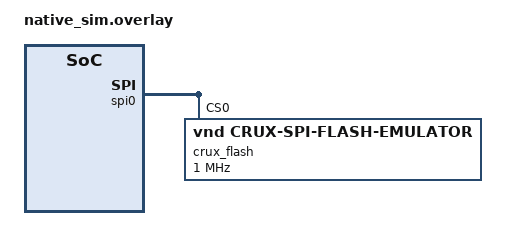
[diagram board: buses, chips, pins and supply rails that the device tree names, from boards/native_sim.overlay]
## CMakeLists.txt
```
cmake_minimum_required(VERSION 3.20.0)
set(DTS_ROOT ${CMAKE_CURRENT_SOURCE_DIR})
find_package(Zephyr REQUIRED HINTS $ENV{ZEPHYR_BASE})
project(crux_spi_flash_id_zephyr_test LANGUAGES C)

target_sources(app PRIVATE
    src/main.c
    src/flash_emulator.c
    ../spi/consumer/spi_flash_id.c
)
target_include_directories(app PRIVATE ../spi/consumer)
target_link_libraries(app PRIVATE crux::spi)
target_compile_options(app PRIVATE -Wall -Wextra -Werror)
```

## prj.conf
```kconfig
CONFIG_ZTEST=y
CONFIG_CRUX_PILOT_MODULE=y
CONFIG_CRUX_SPI=y
CONFIG_SPI=y
CONFIG_SPI_EMUL=y
CONFIG_EMUL=y
```

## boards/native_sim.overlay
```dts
/* Software-only serial NOR flash for the portable flash-identification consumer test. */
/ {
	aliases {
		crux-spi0 = &crux_flash;
	};
};

&spi0 {
	status = "okay";
	crux_flash: flash@0 {
		compatible = "vnd,crux-spi-flash-emulator";
		reg = <0>;
		spi-max-frequency = <1000000>;
		status = "okay";
	};
};
```

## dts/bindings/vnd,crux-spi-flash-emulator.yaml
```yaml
description: Crux software model of a serial NOR flash identification command
compatible: "vnd,crux-spi-flash-emulator"
include: spi-device.yaml
```

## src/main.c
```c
#include <crux/spi.h>
#include <errno.h>
#include <zephyr/device.h>
#include <zephyr/devicetree.h>
#include <zephyr/drivers/emul.h>
#include <zephyr/drivers/spi.h>
#include <zephyr/ztest.h>

#include "flash_emulator.h"
#include "spi_flash_id.h"

#define EMUL_NODE DT_NODELABEL(crux_flash)

static const struct crux_spi_flash_emulator_test_api *emulator(void)
{
    return EMUL_DT_GET(EMUL_NODE)->backend_api;
}

static void before(void *fixture)
{
    ARG_UNUSED(fixture);
    emulator()->set_id(0xEF, 0x40, 0x17);
    emulator()->set_native_result(0);
}

ZTEST_SUITE(crux_spi_flash_id, NULL, NULL, before, NULL, NULL);

ZTEST(crux_spi_flash_id, test_identification_is_read_through_the_native_driver)
{
    struct spi_flash_jedec_id id = {0};
    uint32_t bytes = 0;

    zassert_equal(spi_flash_read_jedec_id(&id), CRUX_OK);
    zassert_equal(id.manufacturer, 0xEF);
    zassert_equal(id.memory_type, 0x40);
    zassert_equal(id.capacity_code, 0x17);
    zassert_equal(spi_flash_capacity_bytes(&id, &bytes), CRUX_OK);
    zassert_equal(bytes, 8U * 1024U * 1024U);
}

ZTEST(crux_spi_flash_id, test_one_four_byte_exchange_per_read)
{
    struct spi_flash_jedec_id id = {0};
    const int before_count = emulator()->exchange_count();

    zassert_equal(spi_flash_read_jedec_id(&id), CRUX_OK);
    zassert_equal(emulator()->exchange_count() - before_count, 1);
    zassert_equal(emulator()->unrecognised_count(), 0);
}

ZTEST(crux_spi_flash_id, test_composed_transfer_settings_are_mode_zero_msb_first_8_bit)
{
    struct spi_flash_jedec_id id = {0};

    zassert_equal(spi_flash_read_jedec_id(&id), CRUX_OK);
    zassert_equal(SPI_WORD_SIZE_GET(emulator()->operation()), 8);
    zassert_equal(emulator()->operation() & (SPI_MODE_CPOL | SPI_MODE_CPHA | SPI_TRANSFER_LSB), 0U);
}

ZTEST(crux_spi_flash_id, test_idle_lines_are_an_io_error)
{
    struct spi_flash_jedec_id id = {1, 2, 3};

    emulator()->set_id(0xFF, 0xFF, 0xFF);
    zassert_equal(spi_flash_read_jedec_id(&id), CRUX_ERR_IO);
    emulator()->set_id(0x00, 0x00, 0x00);
    zassert_equal(spi_flash_read_jedec_id(&id), CRUX_ERR_IO);
    zassert_equal(id.manufacturer, 1);
}

ZTEST(crux_spi_flash_id, test_native_results_map_through_the_consumer)
{
    struct spi_flash_jedec_id id = {0};

    emulator()->set_native_result(-EIO);
    zassert_equal(spi_flash_read_jedec_id(&id), CRUX_ERR_IO);
    emulator()->set_native_result(-ENOTSUP);
    zassert_equal(spi_flash_read_jedec_id(&id), CRUX_ERR_NOT_SUPPORTED);
}
```

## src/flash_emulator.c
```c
#define DT_DRV_COMPAT vnd_crux_spi_flash_emulator

#include <errno.h>
#include <stdint.h>
#include <string.h>
#include <zephyr/device.h>
#include <zephyr/devicetree.h>
#include <zephyr/drivers/emul.h>
#include <zephyr/drivers/spi.h>
#include <zephyr/drivers/spi_emul.h>
#include <zephyr/sys/util.h>

#include "flash_emulator.h"

/*
 * Answers the JEDEC identification command (0x9F) with three configured bytes. Anything else
 * leaves the data line idle high (0xFF) and is counted, so the test can show the consumer sent
 * exactly the four-byte command in one exchange.
 */
struct flash_data {
    uint8_t id[3];
    int native_result;
    int exchanges;
    int unrecognised;
    uint32_t operation;
};

static struct flash_data data_0;

static int flash_io(const struct emul *target, const struct spi_config *config,
                    const struct spi_buf_set *tx_bufs, const struct spi_buf_set *rx_bufs)
{
    struct flash_data *data = target->data;
    data->exchanges++;
    data->operation = config->operation;
    if (data->native_result != 0) {
        return data->native_result;
    }
    if (tx_bufs == NULL || rx_bufs == NULL || tx_bufs->count != 1 || rx_bufs->count != 1 ||
        tx_bufs->buffers[0].len != rx_bufs->buffers[0].len) {
        return -EINVAL;
    }

    const uint8_t *tx = tx_bufs->buffers[0].buf;
    uint8_t *rx = rx_bufs->buffers[0].buf;
    const size_t length = tx_bufs->buffers[0].len;
    memset(rx, 0xFF, length);
    if (length == 4 && tx[0] == 0x9F) {
        memcpy(&rx[1], data->id, sizeof(data->id));
    } else {
        data->unrecognised++;
    }
    return 0;
}

static const struct spi_emul_api bus_api = {.io = flash_io};

static void test_set_id(uint8_t manufacturer, uint8_t memory_type, uint8_t capacity_code)
{
    data_0.id[0] = manufacturer;
    data_0.id[1] = memory_type;
    data_0.id[2] = capacity_code;
}

static void test_set_native_result(int result)
{
    data_0.native_result = result;
}

static int test_exchange_count(void)
{
    return data_0.exchanges;
}

static int test_unrecognised_count(void)
{
    return data_0.unrecognised;
}

static uint32_t test_operation(void)
{
    return data_0.operation;
}

static const struct crux_spi_flash_emulator_test_api backend_api = {
    .set_id = test_set_id,
    .set_native_result = test_set_native_result,
    .exchange_count = test_exchange_count,
    .unrecognised_count = test_unrecognised_count,
    .operation = test_operation,
};

static int emul_init(const struct emul *target, const struct device *parent)
{
    ARG_UNUSED(target);
    ARG_UNUSED(parent);
    test_set_id(0xEF, 0x40, 0x17);
    return 0;
}

#define CRUX_SPI_FLASH_EMUL(n)                                                                     \
    DEVICE_DT_INST_DEFINE(n, NULL, NULL, &data_##n, NULL, POST_KERNEL, CONFIG_SPI_INIT_PRIORITY,   \
                          NULL);                                                                   \
    EMUL_DT_INST_DEFINE(n, emul_init, &data_##n, NULL, &bus_api, &backend_api)

DT_INST_FOREACH_STATUS_OKAY(CRUX_SPI_FLASH_EMUL)
```

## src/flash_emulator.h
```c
#ifndef CRUX_SPI_FLASH_EMULATOR_H
#define CRUX_SPI_FLASH_EMULATOR_H

#include <stdint.h>

struct crux_spi_flash_emulator_test_api {
    void (*set_id)(uint8_t manufacturer, uint8_t memory_type, uint8_t capacity_code);
    /* A non-zero value makes every exchange fail with that native result. */
    void (*set_native_result)(int result);
    int (*exchange_count)(void);
    /* Exchanges that were not a four-byte 0x9F command. */
    int (*unrecognised_count)(void);
    uint32_t (*operation)(void);
};

#endif
```
